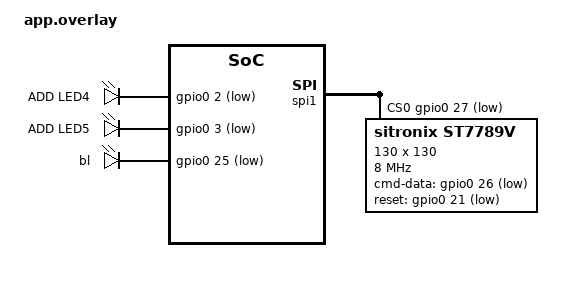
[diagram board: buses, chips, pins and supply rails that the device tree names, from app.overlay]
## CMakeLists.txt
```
# SPDX-License-Identifier: Apache-2.0

cmake_minimum_required(VERSION 3.20.0)

find_package(Zephyr REQUIRED HINTS $ENV{ZEPHYR_BASE})
project(lvgl)

FILE(GLOB app_sources src/*.c)
target_sources(app PRIVATE ${app_sources})
```

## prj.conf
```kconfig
CONFIG_LV_Z_MEM_POOL_NUMBER_BLOCKS=8
CONFIG_MAIN_STACK_SIZE=2048

CONFIG_DISPLAY=y
CONFIG_DISPLAY_LOG_LEVEL_ERR=y

CONFIG_LOG=y

CONFIG_LVGL=y
CONFIG_LV_MEM_CUSTOM=y
CONFIG_LV_USE_LOG=y
CONFIG_LV_USE_LABEL=y
CONFIG_LV_USE_BTN=y
CONFIG_LV_USE_IMG=y
CONFIG_LV_FONT_MONTSERRAT_14=y
CONFIG_LV_COLOR_DEPTH_16=y
CONFIG_LV_COLOR_16_SWAP=y
CONFIG_LV_Z_BITS_PER_PIXEL=16
CONFIG_LV_USE_THEME_DEFAULT=y
CONFIG_LV_THEME_DEFAULT_DARK=y
CONFIG_LV_USE_METER=y
```

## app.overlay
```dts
/*
 * Copyright (c) 2022 Nordic Semiconductor ASA
 *
 * SPDX-License-Identifier: LicenseRef-Nordic-5-Clause
 */

/ {
    chosen {
        nordic,nus-uart = &uart0;
        zephyr,display = &st7789v;
    };
};
/ {
    leds {
        compatible = "gpio-leds";//组件名 可以去sdk下面找到gpio_leds.c的驱动文件：C: \ncs\sdk\zephyr\drivers\led\gpio_leds.c和C: \ncs\sdk\zephyr\dts\bindings\led\gpio-leds.yaml
        led4: led_4 {
            gpios = <&gpio0 2 GPIO_ACTIVE_LOW>;
            label = "ADD LED4";
        };
        led5: led_5 {
            gpios = <&gpio0 3 GPIO_ACTIVE_LOW>;
            label = "ADD LED5";
        };
        bl: bl {
            gpios = <&gpio0 25 GPIO_ACTIVE_LOW>;
            label = "bl";
        };

    };
    aliases {
        led4=&led4;//因为是以别名调用这个驱动的所以添加这个别名
        led5=&led5;
    };
};

&spi1_default {
    group1 {
        psels = <NRF_PSEL(SPIM_SCK, 0, 29)>, <NRF_PSEL(SPIM_MOSI, 0, 28)>;
    };
};
&spi1_sleep {
    group1 {
        psels = <NRF_PSEL(SPIM_SCK, 0, 29)>, <NRF_PSEL(SPIM_MOSI, 0, 28)>;
    };
};
&spi1 {
    compatible = "nordic,nrf-spi";
    status = "okay";

    cs-gpios = <&gpio0 27 GPIO_ACTIVE_LOW>;

    pinctrl-0 = <&spi1_default>;
    pinctrl-1 = <&spi1_sleep>;
    pinctrl-names = "default", "sleep";

    /* Sitronix ST7789V LCD */
    st7789v: st7789v@0 {
        compatible = "sitronix,st7789v";
        label = "ST7789V";
        reg = <0>;
        spi-max-frequency = <8000000>; /* 8MHz */
        cmd-data-gpios = <&gpio0 26 GPIO_ACTIVE_LOW>;    /* DET */
        reset-gpios = <&gpio0 21 GPIO_ACTIVE_LOW>;    /* RESX reset */
        width = <130>;
        height = <130>;
        x-offset = <0>;
        y-offset = <0>;
        vcom = <0x19>;
        gctrl = <0x35>;
        vrhs = <0x12>;
        vdvs = <0x20>;
        mdac = <0x00>;
        gamma = <0x01>;
        colmod = <0x05>;
        lcm = <0x2c>;
        porch-param = [ 0c 0c 00 33 33  ];
        cmd2en-param = [ 5a 69 02 01  ];
        pwctrl1-param = [ a4 a1  ];
        pvgam-param = [ D0 04 0D 11 13 2B 3F 54 4C 18 0D 0B 1F 23  ];
        nvgam-param = [ D0 04 0C 11 13 2C 3F 44 51 2F 1F 1F 20 23  ];
        ram-param = [ 00 F0  ];
        rgb-param = [ CD 08 14  ];
    };
};
/delete-node/ &{/pin-controller/spi1_sleep/group1/};
/delete-node/ &{/pin-controller/i2c0_default/group1/};
/delete-node/ &{/pin-controller/i2c0_sleep/group1/};/delete-node/ &{/pin-controller/spi2_default/group1/};
/delete-node/ &{/pin-controller/spi2_sleep/group1/};

&spi2 {
    /delete-property/ cs-gpios;
};
```

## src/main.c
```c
/*
 * Copyright (c) 2018 Jan Van Winkel <jan.van_winkel@dxplore.eu>
 *
 * SPDX-License-Identifier: Apache-2.0
 */
#include <zephyr/device.h>
#include <zephyr/drivers/display.h>
#include <lvgl.h>
#include <stdio.h>
#include <string.h>
#include <zephyr/kernel.h>
#include <zephyr/logging/log.h>
#define DISPLAY_DRIVER "ST7789V"
#include <zephyr/devicetree.h>
#include <zephyr/drivers/gpio.h>
#include <zephyr/logging/log.h>

#define LOG_LEVEL CONFIG_LOG_DEFAULT_LEVEL
LOG_MODULE_REGISTER(app);

static uint32_t count;

#ifdef CONFIG_GPIO
static struct gpio_dt_spec button_gpio = GPIO_DT_SPEC_GET_OR(
	DT_ALIAS(sw0), gpios, {0});
static struct gpio_callback button_callback;

static void button_isr_callback(const struct device *port,
								struct gpio_callback *cb,
								uint32_t pins)
{
	ARG_UNUSED(port);
	ARG_UNUSED(cb);
	ARG_UNUSED(pins);

	count = 0;
}
#endif

int main(void)
{
	int err;
	char count_str[11] = {0};
	const struct device *display_dev;
	lv_obj_t *hello_world_label;
	lv_obj_t *count_label;

	display_dev = DEVICE_DT_GET(DT_CHOSEN(zephyr_display));
	if (!device_is_ready(display_dev))
	{
		LOG_ERR("Device not ready, aborting test");
		return 0;
	}

#ifdef CONFIG_GPIO
	if (device_is_ready(button_gpio.port))
	{
		err = gpio_pin_configure_dt(&button_gpio, GPIO_INPUT);
		if (err)
		{
			LOG_ERR("failed to configure button gpio: %d", err);
			return 0;
		}

		gpio_init_callback(&button_callback, button_isr_callback,
						   BIT(button_gpio.pin));

		err = gpio_add_callback(button_gpio.port, &button_callback);
		if (err)
		{
			LOG_ERR("failed to add button callback: %d", err);
			return 0;
		}

		err = gpio_pin_interrupt_configure_dt(&button_gpio,
											  GPIO_INT_EDGE_TO_ACTIVE);
		if (err)
		{
			LOG_ERR("failed to enable button callback: %d", err);
			return 0;
		}
	}
#endif

	if (IS_ENABLED(CONFIG_LV_Z_POINTER_KSCAN))
	{
		lv_obj_t *hello_world_button;

		hello_world_button = lv_btn_create(lv_scr_act());
		lv_obj_align(hello_world_button, LV_ALIGN_CENTER, 0, 0);
		hello_world_label = lv_label_create(hello_world_button);
	}
	else
	{
		hello_world_label = lv_label_create(lv_scr_act());
	}

	lv_label_set_text(hello_world_label, "Hello world!");
	lv_obj_align(hello_world_label, LV_ALIGN_CENTER, 0, 0);

	count_label = lv_label_create(lv_scr_act());
	lv_obj_align(count_label, LV_ALIGN_BOTTOM_MID, 0, 0);

	lv_task_handler();
	display_blanking_off(display_dev);

	while (1)
	{
		if ((count % 100) == 0U)
		{
			sprintf(count_str, "%d", count / 100U);
			lv_label_set_text(count_label, count_str);
		}
		lv_task_handler();
		++count;
		k_sleep(K_MSEC(10));
	}
}
```
